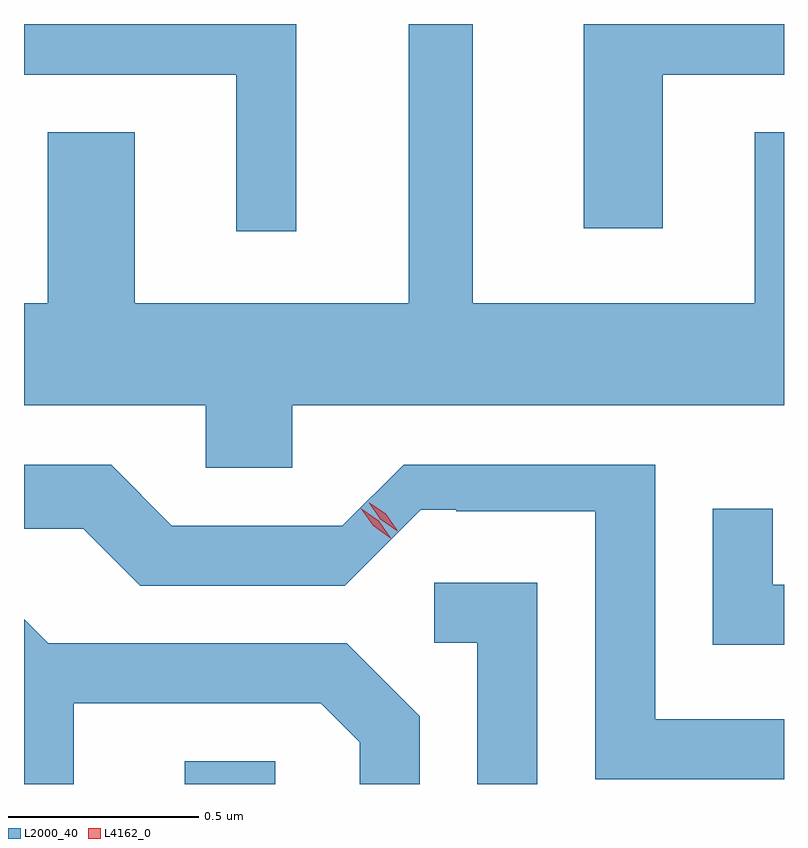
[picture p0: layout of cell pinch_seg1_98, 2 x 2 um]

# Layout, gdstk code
import gdstk
lib = gdstk.Library(unit=1e-6, precision=1e-09)
def R(c, l, rs):  # rectangles x0, y0, x1, y1
    for r in rs: c.add(gdstk.rectangle(r[:2], r[2:], *l))
def P(c, l, *ps):  # polygons
    for p in ps: c.add(gdstk.Polygon(p, *l))
L2000_40 = (2000, 40)
L4162_0 = (4162, 0)

pinch_seg1_98 = lib.new_cell('pinch_seg1_98')
R(pinch_seg1_98, L2000_40, [(1023.501,878.599,1023.739,878.659)])
P(pinch_seg1_98, L2000_40, [(1023.784,879.596),(1025.078,879.596),(1025.078,880.314),(1025.001,880.314),(1025.001,879.864),(1024.259,879.864),(1024.259,880.599),(1024.091,880.599),(1024.091,879.864),(1023.369,879.864),(1023.369,880.314),(1023.141,880.314),(1023.141,879.864),(1023.078,879.864),(1023.078,879.596),(1023.556,879.596),(1023.556,879.431),(1023.784,879.431)],
  [(1023.794,880.599),(1023.078,880.599),(1023.078,880.466),(1023.636,880.466),(1023.636,880.053),(1023.794,880.053)],
  [(1024.759,880.466),(1025.078,880.466),(1025.078,880.599),(1024.551,880.599),(1024.551,880.061),(1024.759,880.061)],
  [(1025.078,878.769),(1024.739,878.769),(1024.739,879.439),(1024.077,879.439),(1023.915,879.278),(1023.818,879.278),(1023.818,879.279),(1023.467,879.279),(1023.307,879.439),(1023.078,879.439),(1023.078,879.271),(1023.234,879.271),(1023.384,879.121),(1023.922,879.121),(1024.122,879.321),(1024.216,879.321),(1024.216,879.317),(1024.581,879.317),(1024.581,878.611),(1025.078,878.611)],
  [(1025.078,879.124),(1025.049,879.124),(1025.049,879.323),(1024.891,879.323),(1024.891,878.966),(1025.078,878.966)],
  [(1024.429,879.129),(1024.158,879.129),(1024.158,878.971),(1024.271,878.971),(1024.271,878.599),(1024.429,878.599)],
  [(1023.209,878.811),(1023.859,878.811),(1023.961,878.709),(1023.961,878.599),(1024.119,878.599),(1024.119,878.777),(1023.927,878.969),(1023.142,878.969),(1023.078,879.033),(1023.078,878.599),(1023.209,878.599)])
P(pinch_seg1_98, L4162_0, [(1024.059,879.266),(1024.015,879.296),(1023.985,879.34),(1023.985,879.34),(1023.985,879.34),(1024.03,879.31),(1024.06,879.267),(1024.06,879.266)],
  [(1024.044,879.245),(1023.997,879.278),(1023.964,879.325),(1023.964,879.325),(1023.964,879.325),(1024.012,879.292),(1024.045,879.245),(1024.045,879.245)])

lib.write_gds('pinch_seg1_98.gds')
